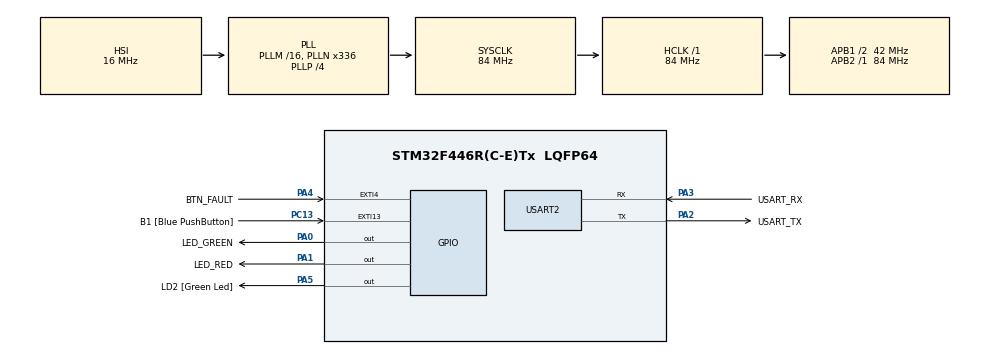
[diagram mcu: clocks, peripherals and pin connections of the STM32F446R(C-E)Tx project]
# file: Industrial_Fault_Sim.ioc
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Mcu.Family=STM32F4
Mcu.Name=STM32F446R(C-E)Tx
Mcu.Package=LQFP64
NVIC.EXTI4_IRQn=true\:0\:0\:false\:false\:true\:true\:true\:true
NVIC.PriorityGroup=NVIC_PRIORITYGROUP_0
PA0-WKUP.GPIO_Label=LED_GREEN
PA0-WKUP.Signal=GPIO_Output
PA1.GPIO_Label=LED_RED
PA1.Signal=GPIO_Output
PA13.GPIO_Label=TMS
PA13.Mode=Serial_Wire
PA13.Signal=SYS_JTMS-SWDIO
PA14.GPIO_Label=TCK
PA14.Mode=Serial_Wire
PA14.Signal=SYS_JTCK-SWCLK
PA2.GPIO_Label=USART_TX
PA2.Mode=Asynchronous
PA2.Signal=USART2_TX
PA3.GPIO_Label=USART_RX
PA3.Mode=Asynchronous
PA3.Signal=USART2_RX
PA4.GPIO_Label=BTN_FAULT
PA4.GPIO_ModeDefaultEXTI=GPIO_MODE_IT_FALLING
PA4.GPIO_PuPd=GPIO_PULLUP
PA4.Signal=GPXTI4
PA5.GPIO_Label=LD2 [Green Led]
PA5.Signal=GPIO_Output
PB3.GPIO_Label=SWO
PB3.Signal=SYS_JTDO-SWO
PC13.GPIO_Label=B1 [Blue PushButton]
PC13.GPIO_ModeDefaultEXTI=GPIO_MODE_IT_FALLING
PC13.Signal=GPXTI13
PC14-OSC32_IN.Mode=LSE-External-Oscillator
PC14-OSC32_IN.Signal=RCC_OSC32_IN
PC15-OSC32_OUT.Mode=LSE-External-Oscillator
PC15-OSC32_OUT.Signal=RCC_OSC32_OUT
PH0-OSC_IN.Mode=HSE-External-Oscillator
PH0-OSC_IN.Signal=RCC_OSC_IN
PH1-OSC_OUT.Mode=HSE-External-Oscillator
PH1-OSC_OUT.Signal=RCC_OSC_OUT
ProjectManager.HeapSize=0x200
ProjectManager.StackSize=0x400
ProjectManager.TargetToolchain=STM32CubeIDE
RCC.48MHZClocksFreq_Value=84000000
RCC.AHBFreq_Value=84000000
RCC.APB1CLKDivider=RCC_HCLK_DIV2
RCC.APB1Freq_Value=42000000
RCC.APB1TimFreq_Value=84000000
RCC.APB2Freq_Value=84000000
RCC.APB2TimFreq_Value=84000000
RCC.CortexFreq_Value=84000000
RCC.FLatency-AdvancedSettings=FLASH_LATENCY_2
RCC.HCLKFreq_Value=84000000
RCC.HSE_VALUE=8000000
RCC.HSI_VALUE=16000000
RCC.PLLN=336
RCC.PLLP=RCC_PLLP_DIV4
RCC.SYSCLKFreq_VALUE=84000000
RCC.SYSCLKSource=RCC_SYSCLKSOURCE_PLLCLK
RCC.USBFreq_Value=168000000
RCC.VCOOutputFreq_Value=336000000
USART2.VirtualMode=VM_ASYNC
board=NUCLEO-F446RE

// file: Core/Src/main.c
/* USER CODE BEGIN Header */
/**
  ******************************************************************************
  * @file           : main.c
  * @brief          : Main program body
  ******************************************************************************
  * @attention
  *
  * Copyright (c) 2026 STMicroelectronics.
  * All rights reserved.
  *
  * This software is licensed under terms that can be found in the LICENSE file
  * in the root directory of this software component.
  * If no LICENSE file comes with this software, it is provided AS-IS.
  *
  ******************************************************************************
  */
/* USER CODE END Header */
#include "main.h"

UART_HandleTypeDef huart2;

/* USER CODE BEGIN PV */

// Sistemin çalışma durumlarını tanımlıyoruz (0: Normal, 1: Hata)
#define STATE_NORMAL 0
#define STATE_FAULT  1

volatile uint8_t currentState = STATE_NORMAL; //Sistem ilk açıldığında Normal durumda başlar(volatile gerekli)

uint32_t last_blink_time = 0;        //Yeşil LED'in son yanıp sönme zamanını tutar
volatile uint32_t last_interrupt_time = 0;    //Buton arkını (titremesini) önlemek için son basılma zamanı(volatile gerekli)

/* USER CODE END PV */

void SystemClock_Config(void);
static void MX_GPIO_Init(void);
static void MX_USART2_UART_Init(void);

int main(void)
{

  /* MCU Configuration--------------------------------------------------------*/

  /* Reset of all peripherals, Initializes the Flash interface and the Systick. */
  HAL_Init();

  /* Configure the system clock */
  SystemClock_Config();

  /* Initialize all configured peripherals */
  MX_GPIO_Init();
  MX_USART2_UART_Init();

  /* Infinite loop */
  while (1)
  {

    /* USER CODE BEGIN 3 */
	  switch(currentState)
	  {
	    case STATE_NORMAL:
	    // Kırmızı LED'i kesin olarak söndür (GPIO_PIN_RESET = 0V)
	    HAL_GPIO_WritePin(LED_RED_GPIO_Port, LED_RED_Pin, GPIO_PIN_RESET);

	    // İşlemciyi kilitlemeden (HAL_Delay kullanmadan) 500ms geçti mi kontrolü:
	    if ((HAL_GetTick() - last_blink_time ) >= 500)
	    {
	      // Yeşil LED'in durumunu tersine çevir (Yanıyorsa söndür, sönükse yak)
	      HAL_GPIO_TogglePin(LED_GREEN_GPIO_Port, LED_GREEN_Pin);

	      last_blink_time = HAL_GetTick(); //Kronometreyi güncelle
	    }
	    break;

	    case STATE_FAULT:
	      // Acil durum! Yeşil LED'i anında söndür, Kırmızı LED'i sabit yak (GPIO_PIN_SET = 3.3V)
	      HAL_GPIO_WritePin(LED_GREEN_GPIO_Port, LED_GREEN_Pin, GPIO_PIN_RESET);
	      HAL_GPIO_WritePin(LED_RED_GPIO_Port, LED_RED_Pin, GPIO_PIN_SET);
	      break;
	  }

  }
  /* USER CODE END 3 */
}

void SystemClock_Config(void)
{
  RCC_OscInitTypeDef RCC_OscInitStruct = {0};
  RCC_ClkInitTypeDef RCC_ClkInitStruct = {0};

  /** Configure the main internal regulator output voltage
  */
  __HAL_RCC_PWR_CLK_ENABLE();
  __HAL_PWR_VOLTAGESCALING_CONFIG(PWR_REGULATOR_VOLTAGE_SCALE3);

  /** Initializes the RCC Oscillators according to the specified parameters
  * in the RCC_OscInitTypeDef structure.
  */
  RCC_OscInitStruct.OscillatorType = RCC_OSCILLATORTYPE_HSI;
  RCC_OscInitStruct.HSIState = RCC_HSI_ON;
  RCC_OscInitStruct.HSICalibrationValue = RCC_HSICALIBRATION_DEFAULT;
  RCC_OscInitStruct.PLL.PLLState = RCC_PLL_ON;
  RCC_OscInitStruct.PLL.PLLSource = RCC_PLLSOURCE_HSI;
  RCC_OscInitStruct.PLL.PLLM = 16;
  RCC_OscInitStruct.PLL.PLLN = 336;
  RCC_OscInitStruct.PLL.PLLP = RCC_PLLP_DIV4;
  RCC_OscInitStruct.PLL.PLLQ = 2;
  RCC_OscInitStruct.PLL.PLLR = 2;
  if (HAL_RCC_OscConfig(&RCC_OscInitStruct) != HAL_OK)
  {
    Error_Handler();
  }

  /** Initializes the CPU, AHB and APB buses clocks
  */
  RCC_ClkInitStruct.ClockType = RCC_CLOCKTYPE_HCLK|RCC_CLOCKTYPE_SYSCLK
                              |RCC_CLOCKTYPE_PCLK1|RCC_CLOCKTYPE_PCLK2;
  RCC_ClkInitStruct.SYSCLKSource = RCC_SYSCLKSOURCE_PLLCLK;
  RCC_ClkInitStruct.AHBCLKDivider = RCC_SYSCLK_DIV1;
  RCC_ClkInitStruct.APB1CLKDivider = RCC_HCLK_DIV2;
  RCC_ClkInitStruct.APB2CLKDivider = RCC_HCLK_DIV1;

  if (HAL_RCC_ClockConfig(&RCC_ClkInitStruct, FLASH_LATENCY_2) != HAL_OK)
  {
    Error_Handler();
  }
}

static void MX_USART2_UART_Init(void)
{

  huart2.Instance = USART2;
  huart2.Init.BaudRate = 115200;
  huart2.Init.WordLength = UART_WORDLENGTH_8B;
  huart2.Init.StopBits = UART_STOPBITS_1;
  huart2.Init.Parity = UART_PARITY_NONE;
  huart2.Init.Mode = UART_MODE_TX_RX;
  huart2.Init.HwFlowCtl = UART_HWCONTROL_NONE;
  huart2.Init.OverSampling = UART_OVERSAMPLING_16;
  if (HAL_UART_Init(&huart2) != HAL_OK)
  {
    Error_Handler();
  }

}

static void MX_GPIO_Init(void)
{
  GPIO_InitTypeDef GPIO_InitStruct = {0};

  /* GPIO Ports Clock Enable */
  __HAL_RCC_GPIOC_CLK_ENABLE();
  __HAL_RCC_GPIOH_CLK_ENABLE();
  __HAL_RCC_GPIOA_CLK_ENABLE();
  __HAL_RCC_GPIOB_CLK_ENABLE();

  /*Configure GPIO pin Output Level */
  HAL_GPIO_WritePin(GPIOA, LED_GREEN_Pin|LED_RED_Pin|LD2_Pin, GPIO_PIN_RESET);

  /*Configure GPIO pin : B1_Pin */
  GPIO_InitStruct.Pin = B1_Pin;
  GPIO_InitStruct.Mode = GPIO_MODE_IT_FALLING;
  GPIO_InitStruct.Pull = GPIO_NOPULL;
  HAL_GPIO_Init(B1_GPIO_Port, &GPIO_InitStruct);

  /*Configure GPIO pins : LED_GREEN_Pin LED_RED_Pin LD2_Pin */
  GPIO_InitStruct.Pin = LED_GREEN_Pin|LED_RED_Pin|LD2_Pin;
  GPIO_InitStruct.Mode = GPIO_MODE_OUTPUT_PP;
  GPIO_InitStruct.Pull = GPIO_NOPULL;
  GPIO_InitStruct.Speed = GPIO_SPEED_FREQ_LOW;
  HAL_GPIO_Init(GPIOA, &GPIO_InitStruct);

  /*Configure GPIO pin : BTN_FAULT_Pin */
  GPIO_InitStruct.Pin = BTN_FAULT_Pin;
  GPIO_InitStruct.Mode = GPIO_MODE_IT_FALLING;
  GPIO_InitStruct.Pull = GPIO_PULLUP;
  HAL_GPIO_Init(BTN_FAULT_GPIO_Port, &GPIO_InitStruct);

  /* EXTI interrupt init*/
  HAL_NVIC_SetPriority(EXTI4_IRQn, 0, 0);
  HAL_NVIC_EnableIRQ(EXTI4_IRQn);

}

/* USER CODE BEGIN 4 */

void HAL_GPIO_EXTI_Callback(uint16_t GPIO_Pin)
{
	// Kesme sinyali gerçekten bizim Hata Butonumuzdan mı (PA4) geldi?
	if (GPIO_Pin == BTN_FAULT_Pin)
	{
		uint32_t current_time = HAL_GetTick();    // O anki sistem saatini (ms) al

		// Debounce (Ark) Filtresi: Son basımdan bu yana 50 milisaniyeden fazla geçtiyse kabul et
		if ((current_time - last_interrupt_time) > 50)
		{
			currentState = STATE_FAULT;           // Sistemi acil durum (HATA) moduna sok!
			last_interrupt_time = current_time;   //Son basım zamanını güncelle
		}
	}
}

/* USER CODE END 4 */

void Error_Handler(void)
{
  __disable_irq();
  while (1)
  {
  }
}
